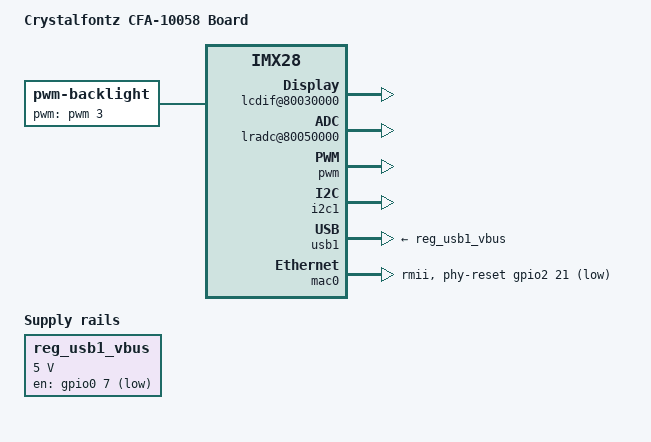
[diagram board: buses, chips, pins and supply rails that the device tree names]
/*
 * Copyright 2013 Crystalfontz America, Inc.
 * Copyright 2012 Free Electrons
 *
 * The code contained herein is licensed under the GNU General Public
 * License. You may obtain a copy of the GNU General Public License
 * Version 2 or later at the following locations:
 *
 * http://www.opensource.org/licenses/gpl-license.html
 * http://www.gnu.org/copyleft/gpl.html
 */

/*
 * The CFA-100587 is an expansion board for the CFA-10036 module, thus we
 * need to include the CFA-10036 DTS.
 */
/include/ "imx28-cfa10036.dts"

/ {
	model = "Crystalfontz CFA-10058 Board";
	compatible = "crystalfontz,cfa10058", "crystalfontz,cfa10036", "fsl,imx28";

	apb@80000000 {
		apbh@80000000 {
			pinctrl@80018000 {
				pinctrl-names = "default", "default";
				pinctrl-1 = <&hog_pins_cfa10058
					&hog_pins_cfa10058_pullup>;

				hog_pins_cfa10058: hog-10058@0 {
					reg = <0>;
					fsl,pinmux-ids = <
						0x0073 /* MX28_PAD_GPMI_D7__GPIO_0_7 */
						0x3053 /* MX28_PAD_AUART1_TX__GPIO_3_5 */
					>;
					fsl,drive-strength = <0>;
					fsl,voltage = <1>;
					fsl,pull-up = <0>;
				};

				hog_pins_cfa10058_pullup: hog-10058-pullup@0 {
					reg = <0>;
					fsl,pinmux-ids = <
						0x2133 /* MX28_PAD_SSP2_D3__GPIO_2_19 */
						0x3183 /* MX28_PAD_I2C0_SCL__GPIO_3_24 */
						0x3193 /* MX28_PAD_I2C0_SDA__GPIO_3_25 */
						0x31a3 /* MX28_PAD_SAIF_SDATA0__GPIO_3_26 */
						0x31e3 /* MX28_PAD_LCD_RESET__GPIO_3_30 */
					>;
					fsl,drive-strength = <0>;
					fsl,voltage = <1>;
					fsl,pull-up = <1>;
				};

				spi3_pins_cfa10058: spi3-cfa10058@0 {
					reg = <0>;
					fsl,pinmux-ids = <
						0x0183 /* MX28_PAD_GPMI_RDN__GPIO_0_24 */
						0x01c3 /* MX28_PAD_GPMI_RESETN__GPIO_0_28 */
						0x0113 /* MX28_PAD_GPMI_CE1N__GPIO_0_17 */
						0x01a3 /* MX28_PAD_GPMI_ALE__GPIO_0_26 */
						0x01b3 /* MX28_PAD_GPMI_CLE__GPIO_0_27 */
					>;
					fsl,drive-strength = <1>;
					fsl,voltage = <1>;
					fsl,pull-up = <1>;
				};

				lcdif_pins_cfa10058: lcdif-evk@0 {
					reg = <0>;
					fsl,pinmux-ids = <
						0x1181 /* MX28_PAD_LCD_RD_E__LCD_VSYNC */
						0x1191 /* MX28_PAD_LCD_WR_RWN__LCD_HSYNC */
						0x11a1 /* MX28_PAD_LCD_RS__LCD_DOTCLK */
						0x11b1 /* MX28_PAD_LCD_CS__LCD_ENABLE */
					>;
					fsl,drive-strength = <0>;
					fsl,voltage = <1>;
					fsl,pull-up = <0>;
				};
			};

			lcdif@80030000 {
				pinctrl-names = "default";
				pinctrl-0 = <&lcdif_24bit_pins_a
						 &lcdif_pins_cfa10058>;
				status = "okay";
			};
		};

		apbx@80040000 {
			lradc@80050000 {
				fsl,lradc-touchscreen-wires = <4>;
				status = "okay";
			};

			pwm: pwm@80064000 {
				pinctrl-names = "default";
				pinctrl-0 = <&pwm3_pins_b>;
				status = "okay";
			};

			i2c1: i2c@8005a000 {
				pinctrl-names = "default";
				pinctrl-0 = <&i2c1_pins_a>;
				status = "okay";
			};

			usbphy1: usbphy@8007e000 {
				status = "okay";
			};
		};
	};

	ahb@80080000 {
		usb1: usb@80090000 {
			vbus-supply = <&reg_usb1_vbus>;
			pinctrl-0 = <&usbphy1_pins_a>;
			pinctrl-names = "default";
			status = "okay";
		};
	};

	regulators {
		compatible = "simple-bus";

		reg_usb1_vbus: usb1_vbus {
			compatible = "regulator-fixed";
			regulator-name = "usb1_vbus";
			regulator-min-microvolt = <5000000>;
			regulator-max-microvolt = <5000000>;
			gpio = <&gpio0 7 1>;
		};
	};

	ahb@80080000 {
		mac0: ethernet@800f0000 {
			phy-mode = "rmii";
			pinctrl-names = "default";
			pinctrl-0 = <&mac0_pins_a>;
			phy-reset-gpios = <&gpio2 21 0>;
			phy-reset-duration = <100>;
			status = "okay";
		};
	};

	backlight {
		compatible = "pwm-backlight";
		pwms = <&pwm 3 5000000>;
		brightness-levels = <0 4 8 16 32 64 128 255>;
		default-brightness-level = <6>;
	};

	fiq {
		compatible = "crystalfontz,cfa10049-fiq";
		interrupts = <50>;
	};
};
